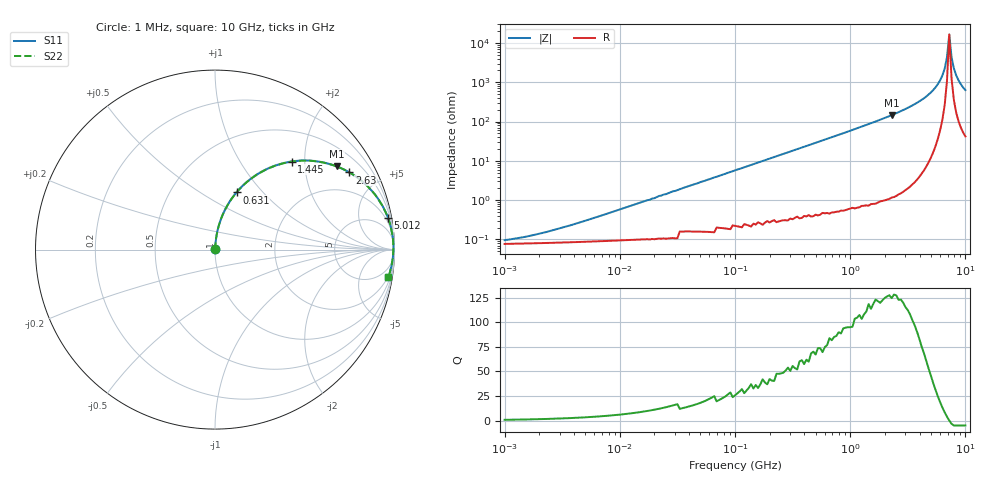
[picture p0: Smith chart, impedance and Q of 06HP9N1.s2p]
# MHz S MA R 50
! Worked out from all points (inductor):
!   201 points, 1 MHz to 10 GHz, reference 50 ohm
!   read as one part in series: L = 9.1 nH near 4.571 MHz
!   highest Q = 128 at 2.291 GHz (marker M1), where L = 10.1 nH
!   self-resonance near 7.244 GHz
!   S11 on the Smith chart (normalised r, x): 1 MHz: 1.00, +0.00; 631 MHz: 1.01, +0.73; 1.445 GHz: 1.01, +1.72; 2.63 GHz: 1.03, +3.46; 5.012 GHz: 1, +11; 10 GHz: 2, -13
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1  0.000786 46.6  0.999 -0.0  0.999 -0.0  0.000786 46.6
4.786  0.002833 74.7  0.999 -0.2  0.999 -0.2  0.002833 74.7
18.197  0.01 83.4  0.999 -0.6  0.999 -0.6  0.01 83.4
21.878  0.013 84.0  0.999 -0.7  0.999 -0.7  0.013 84.0
104.713  0.06 84.6  0.996 -3.4  0.996 -3.4  0.06 84.6
478.63  0.264 73.8  0.961 -15.3  0.961 -15.3  0.264 73.8
630.957  0.34 69.4  0.936 -19.9  0.936 -19.9  0.34 69.4
954.993  0.484 60.5  0.87 -28.9  0.87 -28.9  0.484 60.5
1445.44  0.65 49.0  0.755 -40.5  0.755 -40.5  0.65 49.0
2187.762  0.806 35.8  0.586 -53.7  0.586 -53.7  0.806 35.8
2290.868  0.821 34.3  0.564 -55.2  0.564 -55.2  0.821 34.3
2630.268  0.863 29.9  0.498 -59.7  0.498 -59.7  0.863 29.9
3801.894  0.946 18.4  0.315 -71.0  0.315 -71.0  0.946 18.4
5011.872  0.98 10.3  0.179 -78.5  0.179 -78.5  0.98 10.3
6025.596  0.991 5.1  0.089 -81.9  0.089 -81.9  0.991 5.1
6606.934  0.994 2.5  0.045 -80.7  0.045 -80.7  0.994 2.5
6918.31  0.994 1.3  0.023 -74.6  0.023 -74.6  0.994 1.3
7244.36  0.994 0.0  0.006049 -2.7  0.006049 -2.7  0.994 0.0
7585.776  0.993 -1.2  0.023 72.2  0.023 72.2  0.993 -1.2
7943.282  0.992 -2.5  0.044 78.5  0.044 78.5  0.992 -2.5
8709.636  0.988 -5.0  0.088 79.7  0.088 79.7  0.988 -5.0
10000  0.978 -8.9  0.155 77.3  0.155 77.3  0.978 -8.9
